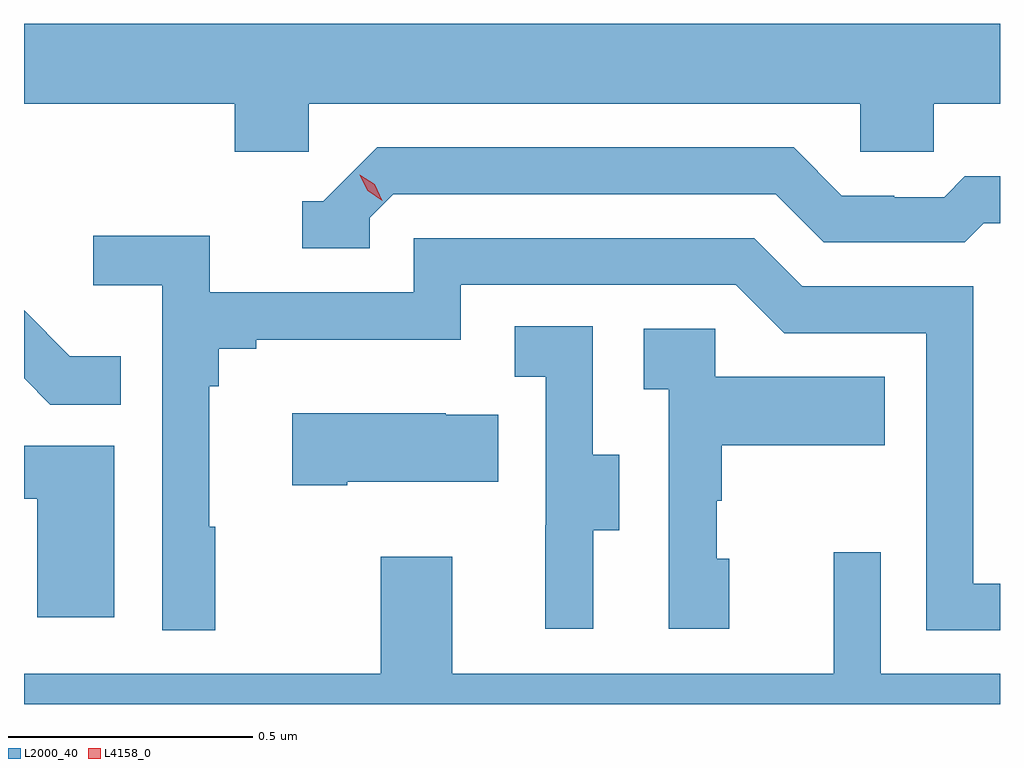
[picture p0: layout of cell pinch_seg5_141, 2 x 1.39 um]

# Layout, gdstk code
import gdstk
lib = gdstk.Library(unit=1e-6, precision=1e-09)
def P(c, l, *ps):  # polygons
    for p in ps: c.add(gdstk.Polygon(p, *l))
L2000_40 = (2000, 40)
L4158_0 = (4158, 0)

pinch_seg5_141 = lib.new_cell('pinch_seg5_141')
P(pinch_seg5_141, L2000_40, [(1054.122,882.068),(1055.253,882.068),(1055.253,881.97),(1055.403,881.97),(1055.403,882.068),(1055.539,882.068),(1055.539,882.232),(1053.539,882.232),(1053.539,882.068),(1053.971,882.068),(1053.971,881.97),(1054.122,881.97)],
  [(1054.248,881.835),(1054.296,881.883),(1055.079,881.883),(1055.178,881.784),(1055.467,881.784),(1055.506,881.823),(1055.539,881.823),(1055.539,881.92),(1055.467,881.92),(1055.425,881.877),(1055.322,881.877),(1055.322,881.88),(1055.215,881.88),(1055.116,881.979),(1054.263,881.979),(1054.152,881.868),(1054.109,881.868),(1054.109,881.772),(1054.248,881.772)],
  [(1053.931,881.201),(1053.919,881.201),(1053.919,881.489),(1053.938,881.489),(1053.938,881.566),(1054.015,881.566),(1054.015,881.585),(1054.434,881.585),(1054.434,881.697),(1054.998,881.697),(1055.097,881.598),(1055.388,881.598),(1055.388,880.989),(1055.539,880.989),(1055.539,881.085),(1055.484,881.085),(1055.484,881.694),(1055.134,881.694),(1055.035,881.793),(1054.338,881.793),(1054.338,881.682),(1053.92,881.682),(1053.92,881.798),(1053.681,881.798),(1053.681,881.696),(1053.822,881.696),(1053.822,880.989),(1053.931,880.989)],
  [(1053.737,881.551),(1053.633,881.551),(1053.539,881.645),(1053.539,881.506),(1053.593,881.452),(1053.737,881.452)],
  [(1054.705,881.194),(1054.759,881.194),(1054.759,881.349),(1054.704,881.349),(1054.704,881.612),(1054.545,881.612),(1054.545,881.509),(1054.608,881.509),(1054.608,881.205),(1054.607,881.205),(1054.607,880.992),(1054.705,880.992)],
  [(1054.984,881.136),(1054.959,881.136),(1054.959,881.255),(1054.969,881.255),(1054.969,881.369),(1055.303,881.369),(1055.303,881.509),(1054.956,881.509),(1054.956,881.607),(1054.809,881.607),(1054.809,881.483),(1054.86,881.483),(1054.86,880.992),(1054.984,880.992)],
  [(1054.201,881.294),(1054.511,881.294),(1054.511,881.431),(1054.403,881.431),(1054.403,881.434),(1054.089,881.434),(1054.089,881.287),(1054.201,881.287)],
  [(1053.724,881.367),(1053.539,881.367),(1053.539,881.259),(1053.566,881.259),(1053.566,881.016),(1053.724,881.016)],
  [(1055.539,880.9),(1055.295,880.9),(1055.295,881.149),(1055.198,881.149),(1055.198,880.9),(1054.417,880.9),(1054.417,881.14),(1054.27,881.14),(1054.27,880.9),(1053.539,880.9),(1053.539,880.838),(1055.539,880.838)])
P(pinch_seg5_141, L4158_0, [(1054.273,881.87),(1054.243,881.89),(1054.227,881.922),(1054.227,881.923),(1054.227,881.923),(1054.258,881.903),(1054.273,881.87),(1054.273,881.87)])

lib.write_gds('pinch_seg5_141.gds')
